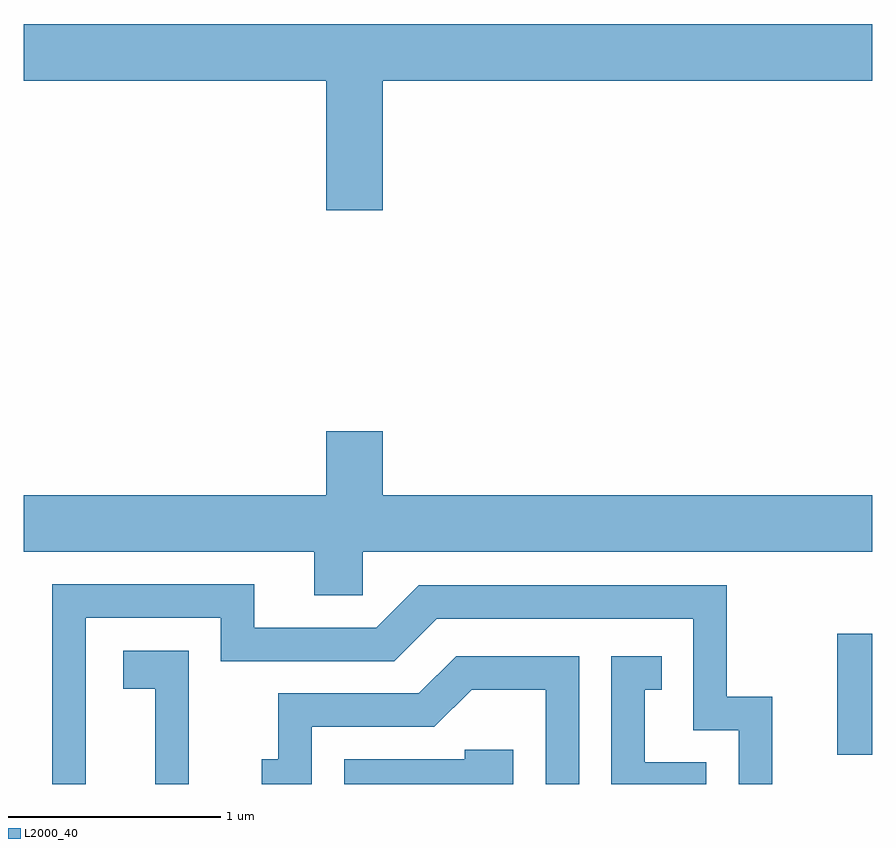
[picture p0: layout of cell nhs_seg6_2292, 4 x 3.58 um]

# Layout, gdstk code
import gdstk
lib = gdstk.Library(unit=1e-6, precision=1e-09)
def R(c, l, rs):  # rectangles x0, y0, x1, y1
    for r in rs: c.add(gdstk.rectangle(r[:2], r[2:], *l))
def P(c, l, *ps):  # polygons
    for p in ps: c.add(gdstk.Polygon(p, *l))
L2000_40 = (2000, 40)

nhs_seg6_2292 = lib.new_cell('nhs_seg6_2292')
R(nhs_seg6_2292, L2000_40, [(257.446,1662.301,257.611,1662.869)])
P(nhs_seg6_2292, L2000_40, [(255.304,1665.476),(257.611,1665.476),(257.611,1665.744),(253.611,1665.744),(253.611,1665.476),(255.036,1665.476),(255.036,1664.866),(255.304,1664.866)],
  [(255.209,1663.256),(257.611,1663.256),(257.611,1663.524),(255.304,1663.524),(255.304,1663.824),(255.036,1663.824),(255.036,1663.524),(253.611,1663.524),(253.611,1663.256),(254.981,1663.256),(254.981,1663.051),(255.209,1663.051)],
  [(253.904,1662.946),(254.541,1662.946),(254.541,1662.741),(255.357,1662.741),(255.557,1662.941),(256.766,1662.941),(256.766,1662.416),(256.981,1662.416),(256.981,1662.162),(257.139,1662.162),(257.139,1662.574),(256.924,1662.574),(256.924,1663.099),(255.474,1663.099),(255.274,1662.899),(254.699,1662.899),(254.699,1663.104),(253.746,1663.104),(253.746,1662.162),(253.904,1662.162)],
  [(254.389,1662.789),(254.081,1662.789),(254.081,1662.611),(254.231,1662.611),(254.231,1662.162),(254.389,1662.162)],
  [(254.969,1662.431),(255.547,1662.431),(255.722,1662.606),(256.071,1662.606),(256.071,1662.162),(256.229,1662.162),(256.229,1662.764),(255.649,1662.764),(255.474,1662.589),(254.811,1662.589),(254.811,1662.279),(254.733,1662.279),(254.733,1662.162),(254.969,1662.162)],
  [(256.829,1662.264),(256.539,1662.264),(256.539,1662.606),(256.618,1662.606),(256.618,1662.764),(256.381,1662.764),(256.381,1662.162),(256.829,1662.162)],
  [(255.919,1662.324),(255.691,1662.324),(255.691,1662.279),(255.121,1662.279),(255.121,1662.162),(255.919,1662.162)])

lib.write_gds('nhs_seg6_2292.gds')
